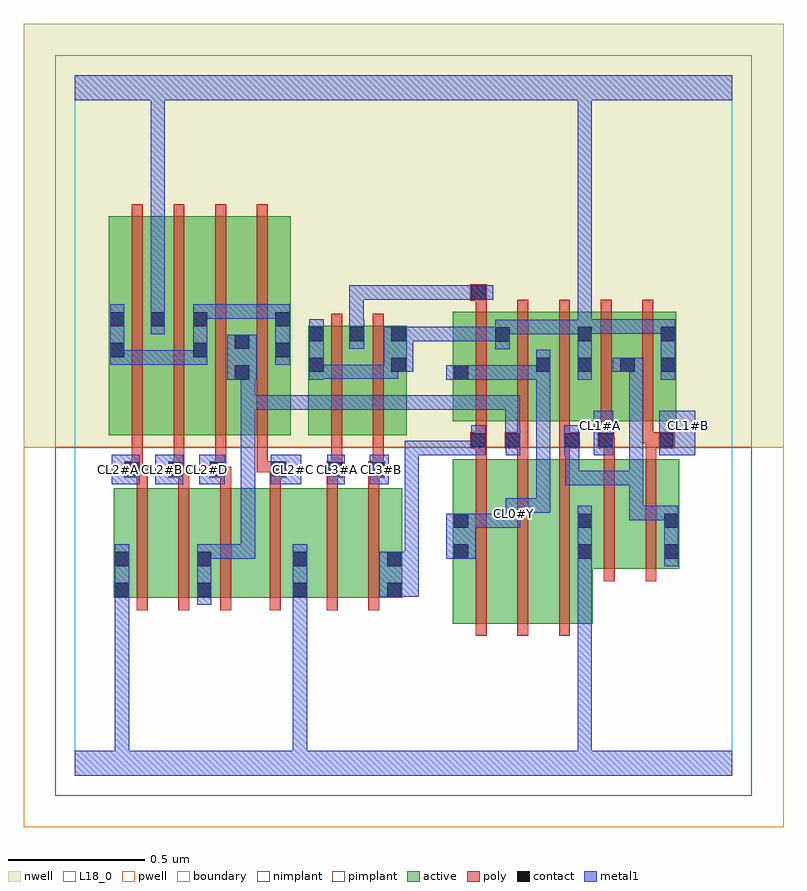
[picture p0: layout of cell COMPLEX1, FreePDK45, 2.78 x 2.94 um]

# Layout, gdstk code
import gdstk
lib = gdstk.Library(unit=1e-6, precision=1e-09)
def R(c, l, rs):  # rectangles x0, y0, x1, y1
    for r in rs: c.add(gdstk.rectangle(r[:2], r[2:], *l))
def A(c, l, x, y, w, h, nx, ny, dx, dy):  # array of equal rectangles
    R(c, l, [(x+i*dx, y+j*dy, x+i*dx+w, y+j*dy+h) for i in range(nx) for j in range(ny)])
active = (1, 0)
pwell = (2, 0)
nwell = (3, 0)
nimplant = (4, 0)
pimplant = (5, 0)
poly = (9, 0)
contact = (10, 0)
metal1 = (11, 0)
L18_0 = (18, 0)
boundary = (235, 0)

complex1 = lib.new_cell('COMPLEX1')
R(complex1, active, [(1.38,0.556,1.44,1.156), (1.38,0.556,1.56,1.156), (1.56,0.556,1.712,1.156), (1.712,0.556,1.892,1.156), (1.832,0.556,1.892,1.156), (0.142,0.65,0.202,1.05), (0.142,0.65,0.322,1.05), (0.322,0.65,0.502,1.05), (0.442,0.65,0.502,1.05), (0.442,0.65,0.626,1.05), (0.626,0.65,0.852,1.05), (0.792,0.65,0.852,1.05), (0.792,0.65,1.016,1.05), (1.016,0.65,1.196,1.05), (1.136,0.65,1.196,1.05), (1.832,0.756,2.028,1.156), (2.028,0.756,2.208,1.156), (2.148,0.756,2.208,1.156), (0.124,1.244,0.184,2.044), (0.124,1.244,0.332,2.044), (0.272,1.244,0.332,2.044), (0.272,1.244,0.488,2.044), (0.428,1.244,0.488,2.044), (0.428,1.244,0.64,2.044), (0.58,1.244,0.64,2.044), (0.58,1.244,0.788,2.044), (0.728,1.244,0.788,2.044), (0.852,1.244,0.912,1.644), (0.852,1.244,1.06,1.644), (1,1.244,1.212,1.644), (1.152,1.244,1.212,1.644), (1.38,1.296,1.592,1.696), (1.38,1.296,1.44,1.644), (1.532,1.296,1.74,1.696), (1.68,1.296,1.892,1.696), (1.832,1.296,2.048,1.696), (1.988,1.296,2.196,1.696), (2.136,1.296,2.196,1.696), (1.68,1.362,1.74,1.696), (1.832,1.416,1.892,1.696), (1.988,1.472,2.048,1.644), (1,1.554,1.06,1.644), (1.532,1.572,1.592,1.696)])
R(complex1, pwell, [(-0.188,-0.188,2.588,1.2)])
R(complex1, nwell, [(-0.188,1.2,2.588,2.748)])
R(complex1, nimplant, [(-0.072,-0.072,2.472,1.2)])
R(complex1, pimplant, [(-0.072,1.2,2.472,2.632)])
A(complex1, poly, 1.464, 0.512, 0.04, 0.688, 3, 1, 0.152, 0)
A(complex1, poly, 0.226, 0.606, 0.04, 0.488, 3, 1, 0.152, 0)
A(complex1, poly, 0.226, 1.054, 0.04, 0.076, 3, 1, 0.152, 0)
A(complex1, poly, 0.208, 1.09, 0.04, 0.04, 3, 1, 0.152, 0)
A(complex1, poly, 0.208, 1.09, 0.058, 0.04, 3, 1, 0.152, 0)
A(complex1, poly, 0.208, 1.11, 0.04, 0.13, 4, 1, 0.152, 0)
A(complex1, poly, 1.464, 1.16, 0.04, 0.076, 3, 1, 0.152, 0)
A(complex1, poly, 0.208, 1.2, 0.04, 0.888, 4, 1, 0.152, 0)
A(complex1, poly, 1.464, 1.216, 0.04, 0.076, 5, 1, 0.152, 0)
A(complex1, poly, 1.464, 1.252, 0.04, 0.488, 5, 1, 0.152, 0)
R(complex1, poly, [(0.712,0.606,0.752,1.094), (0.92,0.606,0.96,1.094), (1.072,0.606,1.112,1.094), (1.932,0.712,1.972,1.2), (2.084,0.712,2.124,1.2), (0.712,1.054,0.752,1.13), (0.92,1.054,0.96,1.13), (1.072,1.054,1.112,1.13), (0.18,1.09,0.248,1.15), (0.34,1.09,0.4,1.15), (0.492,1.09,0.552,1.15), (0.712,1.09,0.772,1.15), (0.92,1.09,0.98,1.15), (1.072,1.09,1.132,1.15), (0.664,1.11,0.752,1.15), (0.712,1.11,0.752,1.15), (0.936,1.11,0.976,1.15), (0.936,1.11,0.976,1.15), (0.936,1.11,0.976,1.24), (1.088,1.11,1.128,1.15), (1.088,1.11,1.128,1.15), (1.088,1.11,1.128,1.24), (1.932,1.16,1.972,1.236), (2.084,1.16,2.124,1.236), (1.444,1.196,1.504,1.256), (1.57,1.196,1.656,1.256), (1.616,1.196,1.656,1.236), (1.616,1.196,1.656,1.236), (1.768,1.196,1.844,1.256), (1.91,1.196,1.97,1.256), (1.93,1.196,1.97,1.236), (1.93,1.196,1.972,1.236), (2.084,1.196,2.19,1.256), (0.936,1.2,0.976,1.688), (1.088,1.2,1.128,1.688), (1.464,1.216,1.504,1.256), (1.464,1.216,1.504,1.256), (1.768,1.216,1.808,1.256), (1.768,1.216,1.808,1.256), (2.072,1.216,2.124,1.256), (2.084,1.216,2.124,1.256), (1.464,1.7,1.504,1.776), (1.444,1.736,1.504,1.796)])
R(complex1, contact, [(0.146,0.654,0.198,0.706), (0.446,0.654,0.498,0.706), (0.796,0.654,0.848,0.706), (1.14,0.654,1.192,0.706), (0.146,0.766,0.198,0.818), (0.446,0.766,0.498,0.818), (0.796,0.766,0.848,0.818), (1.14,0.766,1.192,0.818), (1.384,0.794,1.436,0.846), (1.836,0.794,1.888,0.846), (2.152,0.794,2.204,0.846), (1.384,0.906,1.436,0.958), (1.836,0.906,1.888,0.958), (2.152,0.906,2.204,0.958), (0.184,1.094,0.236,1.146), (0.344,1.094,0.396,1.146), (0.496,1.094,0.548,1.146), (0.716,1.094,0.768,1.146), (0.924,1.094,0.976,1.146), (1.076,1.094,1.128,1.146), (1.448,1.2,1.5,1.252), (1.574,1.2,1.626,1.252), (1.788,1.2,1.84,1.252), (1.914,1.2,1.966,1.252), (2.134,1.2,2.186,1.252), (0.584,1.448,0.636,1.5), (1.384,1.448,1.436,1.5), (0.856,1.476,0.908,1.528), (1.156,1.476,1.208,1.528), (1.684,1.476,1.736,1.528), (1.836,1.476,1.888,1.528), (1.992,1.476,2.044,1.528), (2.14,1.476,2.192,1.528), (0.128,1.53,0.18,1.582), (0.432,1.53,0.484,1.582), (0.732,1.53,0.784,1.582), (0.584,1.56,0.636,1.612), (1.536,1.586,1.588,1.638), (0.856,1.588,0.908,1.64), (1.004,1.588,1.056,1.64), (1.156,1.588,1.208,1.64), (1.836,1.588,1.888,1.64), (2.14,1.588,2.192,1.64), (0.128,1.642,0.18,1.694), (0.276,1.642,0.328,1.694), (0.432,1.642,0.484,1.694), (0.732,1.642,0.784,1.694), (1.448,1.74,1.5,1.792)])
R(complex1, metal1, [(0,0,2.4,0.092), (0.146,0.04,0.198,0.092), (0.146,0.04,0.198,0.092), (0.146,0.04,0.198,0.092), (0.146,0.04,0.198,0.092), (0.146,0.04,0.198,0.092), (0.146,0.04,0.198,0.092), (0.146,0.04,0.198,0.092), (0.146,0.04,0.198,0.092), (0.146,0.04,0.198,0.092), (0.146,0.04,0.198,0.092), (0.146,0.04,0.198,0.678), (0.796,0.04,0.848,0.092), (0.796,0.04,0.848,0.092), (0.796,0.04,0.848,0.092), (0.796,0.04,0.848,0.092), (0.796,0.04,0.848,0.092), (0.796,0.04,0.848,0.092), (0.796,0.04,0.848,0.678), (1.836,0.04,1.888,0.092), (1.836,0.04,1.888,0.092), (1.836,0.04,1.888,0.818), (0.146,0.626,0.198,0.678), (0.146,0.626,0.198,0.678), (0.146,0.626,0.198,0.846), (0.446,0.626,0.498,0.846), (0.796,0.626,0.848,0.678), (0.796,0.626,0.848,0.678), (0.796,0.626,0.848,0.678), (0.796,0.626,0.848,0.678), (0.796,0.626,0.848,0.678), (0.796,0.626,0.848,0.678), (0.796,0.626,0.848,0.846), (1.112,0.654,1.256,0.818), (1.204,0.766,1.256,1.224), (1.836,0.766,1.888,0.818), (1.836,0.766,1.888,0.818), (1.836,0.766,1.888,0.818), (1.836,0.766,1.888,0.818), (1.836,0.766,1.888,0.818), (1.836,0.766,1.888,0.818), (1.836,0.766,1.888,0.986), (2.152,0.766,2.204,0.986), (0.446,0.794,0.498,0.846), (0.446,0.794,0.498,0.846), (0.446,0.794,0.658,0.846), (0.606,0.794,0.658,0.846), (0.606,0.794,0.658,1.39), (1.356,0.794,1.464,0.958), (1.412,0.906,1.464,0.958), (1.412,0.906,1.464,0.958), (1.412,0.906,1.626,0.958), (1.574,0.906,1.626,0.958), (1.574,0.906,1.626,0.958), (1.574,0.906,1.626,1.014), (2.024,0.934,2.076,0.986), (2.024,0.934,2.204,0.986), (2.024,0.934,2.076,1.114), (2.152,0.934,2.204,0.986), (2.152,0.934,2.204,0.986), (1.574,0.962,1.626,1.014), (1.574,0.962,1.626,1.014), (1.574,0.962,1.736,1.014), (1.684,0.962,1.736,1.014), (1.684,0.962,1.736,1.366), (1.79,1.062,2.076,1.114), (1.79,1.062,1.842,1.224), (2.024,1.062,2.076,1.114), (2.024,1.062,2.076,1.114), (2.024,1.062,2.076,1.114), (2.024,1.062,2.076,1.528), (0.134,1.066,0.236,1.174), (0.294,1.066,0.396,1.174), (0.454,1.066,0.548,1.174), (0.716,1.066,0.826,1.174), (0.922,1.066,0.986,1.174), (1.076,1.066,1.146,1.174), (1.204,1.172,1.256,1.224), (1.204,1.172,1.478,1.224), (1.426,1.172,1.478,1.224), (1.426,1.172,1.5,1.224), (1.448,1.172,1.5,1.28), (1.574,1.172,1.626,1.28), (1.788,1.172,1.842,1.224), (1.788,1.172,1.84,1.28), (1.894,1.172,1.966,1.334), (2.134,1.172,2.266,1.334), (1.572,1.228,1.626,1.28), (1.572,1.228,1.624,1.39), (1.684,1.314,1.736,1.366), (1.684,1.314,1.736,1.5), (0.606,1.338,0.658,1.39), (0.606,1.338,0.658,1.39), (0.606,1.338,0.658,1.39), (0.606,1.338,0.658,1.39), (0.606,1.338,0.658,1.39), (0.606,1.338,0.658,1.5), (0.606,1.338,0.798,1.39), (0.746,1.338,0.798,1.39), (0.746,1.338,0.798,1.39), (0.746,1.338,0.798,1.39), (0.746,1.338,1.018,1.39), (0.966,1.338,1.018,1.39), (0.966,1.338,1.018,1.39), (0.966,1.338,1.018,1.39), (0.966,1.338,1.166,1.39), (1.114,1.338,1.166,1.39), (1.114,1.338,1.166,1.39), (1.114,1.338,1.166,1.39), (1.114,1.338,1.478,1.39), (1.426,1.338,1.478,1.39), (1.426,1.338,1.478,1.39), (1.426,1.338,1.478,1.39), (1.426,1.338,1.624,1.39), (0.556,1.448,0.664,1.612), (0.856,1.448,0.908,1.668), (1.356,1.448,1.464,1.5), (1.412,1.448,1.464,1.5), (1.412,1.448,1.464,1.5), (1.412,1.448,1.624,1.5), (1.572,1.448,1.624,1.5), (1.572,1.448,1.624,1.5), (1.572,1.448,1.624,1.5), (1.572,1.448,1.736,1.5), (1.684,1.448,1.736,1.556), (1.836,1.448,1.888,1.668), (2.14,1.448,2.192,1.668), (0.856,1.45,0.908,1.502), (0.856,1.45,0.908,1.502), (0.856,1.45,1.018,1.502), (0.966,1.45,1.018,1.502), (0.966,1.45,1.18,1.502), (1.128,1.45,1.18,1.502), (1.128,1.45,1.18,1.502), (1.128,1.45,1.18,1.502), (1.128,1.45,1.18,1.528), (1.128,1.476,1.18,1.528), (1.128,1.476,1.18,1.528), (1.128,1.476,1.18,1.528), (1.128,1.476,1.18,1.528), (1.128,1.476,1.236,1.64), (1.964,1.476,2.076,1.528), (2.024,1.476,2.076,1.528), (2.024,1.476,2.076,1.528), (0.128,1.502,0.18,1.554), (0.128,1.502,0.18,1.554), (0.128,1.502,0.18,1.722), (0.128,1.502,0.374,1.554), (0.322,1.502,0.374,1.554), (0.322,1.502,0.374,1.554), (0.322,1.502,0.374,1.554), (0.322,1.502,0.484,1.554), (0.432,1.502,0.484,1.722), (0.732,1.502,0.784,1.722), (1.536,1.558,1.588,1.666), (1.002,1.56,1.056,1.668), (1.184,1.588,1.478,1.64), (1.426,1.588,1.478,1.64), (1.426,1.588,1.478,1.64), (1.426,1.588,1.478,1.64), (1.426,1.588,1.588,1.64), (0.276,1.614,0.328,1.722), (1.536,1.614,1.61,1.666), (1.558,1.614,1.61,1.666), (1.558,1.614,1.734,1.666), (1.682,1.614,1.734,1.666), (1.682,1.614,1.836,1.666), (1.784,1.614,1.836,1.666), (1.784,1.614,1.888,1.666), (1.002,1.616,1.054,1.792), (1.836,1.616,1.888,1.668), (1.836,1.616,1.888,1.668), (1.836,1.616,1.888,1.668), (1.836,1.616,1.888,1.668), (1.836,1.616,1.888,1.668), (1.836,1.616,1.888,1.668), (1.836,1.616,1.998,1.668), (1.836,1.616,1.888,2.52), (1.946,1.616,1.998,1.668), (1.946,1.616,1.998,1.668), (1.946,1.616,1.998,1.668), (1.946,1.616,2.192,1.668), (2.14,1.616,2.192,1.668), (2.14,1.616,2.192,1.668), (0.276,1.67,0.328,1.756), (0.432,1.67,0.484,1.722), (0.432,1.67,0.484,1.722), (0.432,1.67,0.484,1.722), (0.432,1.67,0.484,1.722), (0.432,1.67,0.658,1.722), (0.606,1.67,0.658,1.722), (0.606,1.67,0.658,1.722), (0.606,1.67,0.658,1.722), (0.606,1.67,0.784,1.722), (0.276,1.704,0.328,1.756), (0.276,1.704,0.328,1.756), (0.276,1.704,0.328,1.756), (0.276,1.704,0.328,1.756), (0.276,1.704,0.328,1.756), (0.276,1.704,0.328,2.52), (1.002,1.74,1.054,1.792), (1.002,1.74,1.164,1.792), (1.112,1.74,1.164,1.792), (1.112,1.74,1.164,1.792), (1.112,1.74,1.164,1.792), (1.112,1.74,1.472,1.792), (1.42,1.74,1.472,1.792), (1.42,1.74,1.472,1.792), (1.42,1.74,1.528,1.792), (0,2.468,2.4,2.56), (0.276,2.468,0.328,2.52), (0.276,2.468,0.328,2.52), (1.836,2.468,1.888,2.52), (1.836,2.468,1.888,2.52), (1.836,2.468,1.888,2.52), (1.836,2.468,1.888,2.52), (1.836,2.468,1.888,2.52), (1.836,2.468,1.888,2.52), (1.836,2.468,1.888,2.52), (1.836,2.468,1.888,2.52), (1.836,2.468,1.888,2.52), (1.836,2.468,1.888,2.52)])
A(complex1, L18_0, 1.574, 0.906, 0.052, 0.052, 1, 3, 0, 0.028)
A(complex1, L18_0, 0.134, 1.094, 0.052, 0.052, 3, 1, 0.16, 0)
A(complex1, L18_0, 0.774, 1.094, 0.052, 0.052, 3, 1, 0.16, 0)
R(complex1, L18_0, [(0,0,2.4,0.092), (0.146,0.04,0.198,0.092), (0.146,0.04,0.198,0.092), (0.146,0.04,0.198,0.092), (0.146,0.04,0.198,0.092), (0.146,0.04,0.198,0.092), (0.146,0.04,0.198,0.092), (0.146,0.04,0.198,0.092), (0.146,0.04,0.198,0.092), (0.146,0.04,0.198,0.092), (0.146,0.04,0.198,0.092), (0.146,0.04,0.198,0.678), (0.796,0.04,0.848,0.092), (0.796,0.04,0.848,0.092), (0.796,0.04,0.848,0.092), (0.796,0.04,0.848,0.092), (0.796,0.04,0.848,0.092), (0.796,0.04,0.848,0.092), (0.796,0.04,0.848,0.678), (1.836,0.04,1.888,0.092), (1.836,0.04,1.888,0.092), (1.836,0.04,1.888,0.818), (0.146,0.626,0.198,0.678), (0.146,0.626,0.198,0.678), (0.146,0.626,0.198,0.846), (0.796,0.626,0.848,0.678), (0.796,0.626,0.848,0.678), (0.796,0.626,0.848,0.678), (0.796,0.626,0.848,0.678), (0.796,0.626,0.848,0.678), (0.796,0.626,0.848,0.678), (0.796,0.626,0.848,0.846), (1.836,0.766,1.888,0.818), (1.836,0.766,1.888,0.818), (1.836,0.766,1.888,0.818), (1.836,0.766,1.888,0.818), (1.836,0.766,1.888,0.818), (1.836,0.766,1.888,0.818), (1.836,0.766,1.888,0.986), (1.356,0.794,1.464,0.958), (1.412,0.906,1.464,0.958), (1.412,0.906,1.464,0.958), (1.412,0.906,1.626,0.958), (1.574,0.906,1.626,0.958), (1.574,0.906,1.626,1.014), (1.574,0.962,1.626,1.014), (1.574,0.962,1.736,1.014), (1.684,0.962,1.736,1.014), (1.684,0.962,1.736,1.366), (0.134,1.066,0.236,1.174), (0.294,1.066,0.396,1.174), (0.454,1.066,0.548,1.174), (0.716,1.066,0.826,1.174), (0.922,1.066,0.986,1.174), (1.076,1.066,1.146,1.174), (1.894,1.172,1.966,1.334), (2.134,1.172,2.266,1.334), (1.894,1.254,1.946,1.306), (2.214,1.254,2.266,1.306), (1.684,1.314,1.736,1.366), (1.684,1.314,1.736,1.5), (0.856,1.448,0.908,1.668), (1.356,1.448,1.464,1.5), (1.412,1.448,1.464,1.5), (1.412,1.448,1.464,1.5), (1.412,1.448,1.624,1.5), (1.572,1.448,1.624,1.5), (1.572,1.448,1.624,1.5), (1.572,1.448,1.624,1.5), (1.572,1.448,1.736,1.5), (1.684,1.448,1.736,1.556), (1.836,1.448,1.888,1.668), (2.14,1.448,2.192,1.668), (0.856,1.45,0.908,1.502), (0.856,1.45,0.908,1.502), (0.856,1.45,1.018,1.502), (0.966,1.45,1.018,1.502), (0.966,1.45,1.18,1.502), (1.128,1.45,1.18,1.502), (1.128,1.45,1.18,1.502), (1.128,1.45,1.18,1.502), (1.128,1.45,1.18,1.528), (1.128,1.476,1.18,1.528), (1.128,1.476,1.18,1.528), (1.128,1.476,1.18,1.528), (1.128,1.476,1.18,1.528), (1.128,1.476,1.236,1.64), (1.536,1.558,1.588,1.666), (1.184,1.588,1.478,1.64), (1.426,1.588,1.478,1.64), (1.426,1.588,1.478,1.64), (1.426,1.588,1.478,1.64), (1.426,1.588,1.588,1.64), (0.276,1.614,0.328,1.722), (1.536,1.614,1.61,1.666), (1.558,1.614,1.61,1.666), (1.558,1.614,1.734,1.666), (1.682,1.614,1.734,1.666), (1.682,1.614,1.836,1.666), (1.784,1.614,1.836,1.666), (1.784,1.614,1.888,1.666), (1.836,1.616,1.888,1.668), (1.836,1.616,1.888,1.668), (1.836,1.616,1.888,1.668), (1.836,1.616,1.888,1.668), (1.836,1.616,1.888,1.668), (1.836,1.616,1.888,1.668), (1.836,1.616,1.998,1.668), (1.836,1.616,1.888,2.52), (1.946,1.616,1.998,1.668), (1.946,1.616,1.998,1.668), (1.946,1.616,1.998,1.668), (1.946,1.616,2.192,1.668), (2.14,1.616,2.192,1.668), (2.14,1.616,2.192,1.668), (0.276,1.67,0.328,1.756), (0.276,1.704,0.328,1.756), (0.276,1.704,0.328,1.756), (0.276,1.704,0.328,1.756), (0.276,1.704,0.328,1.756), (0.276,1.704,0.328,1.756), (0.276,1.704,0.328,2.52), (0,2.468,2.4,2.56), (0.276,2.468,0.328,2.52), (0.276,2.468,0.328,2.52), (1.836,2.468,1.888,2.52), (1.836,2.468,1.888,2.52), (1.836,2.468,1.888,2.52), (1.836,2.468,1.888,2.52), (1.836,2.468,1.888,2.52), (1.836,2.468,1.888,2.52), (1.836,2.468,1.888,2.52), (1.836,2.468,1.888,2.52), (1.836,2.468,1.888,2.52), (1.836,2.468,1.888,2.52)])
R(complex1, boundary, [(0,0,2.4,2.56)])
complex1.add(gdstk.Label('CL0#Y', (1.6,0.96), layer=11, texttype=0))
complex1.add(gdstk.Label('CL1#A', (1.92,1.28), layer=11, texttype=0))
complex1.add(gdstk.Label('CL1#B', (2.24,1.28), layer=11, texttype=0))
complex1.add(gdstk.Label('CL2#A', (0.16,1.12), layer=11, texttype=0))
complex1.add(gdstk.Label('CL2#B', (0.32,1.12), layer=11, texttype=0))
complex1.add(gdstk.Label('CL2#C', (0.8,1.12), layer=11, texttype=0))
complex1.add(gdstk.Label('CL2#D', (0.48,1.12), layer=11, texttype=0))
complex1.add(gdstk.Label('CL3#A', (0.96,1.12), layer=11, texttype=0))
complex1.add(gdstk.Label('CL3#B', (1.12,1.12), layer=11, texttype=0))

lib.write_gds('COMPLEX1.gds')
